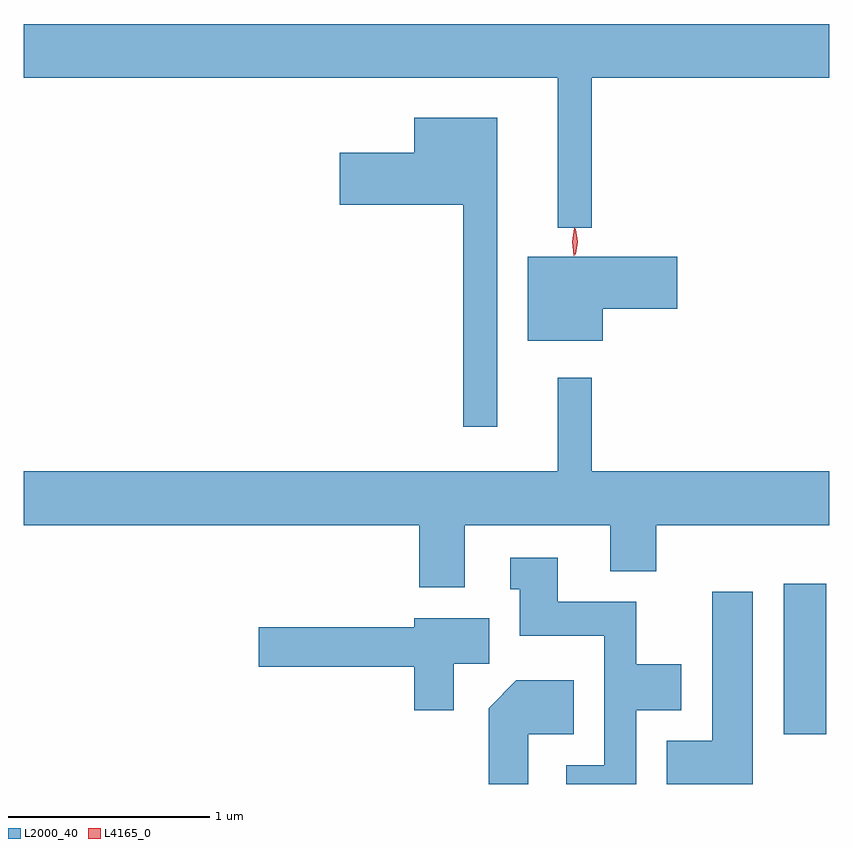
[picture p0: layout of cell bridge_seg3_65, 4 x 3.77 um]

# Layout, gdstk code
import gdstk
lib = gdstk.Library(unit=1e-6, precision=1e-09)
def R(c, l, rs):  # rectangles x0, y0, x1, y1
    for r in rs: c.add(gdstk.rectangle(r[:2], r[2:], *l))
def P(c, l, *ps):  # polygons
    for p in ps: c.add(gdstk.Polygon(p, *l))
L2000_40 = (2000, 40)
L4165_0 = (4165, 0)

bridge_seg3_65 = lib.new_cell('bridge_seg3_65')
R(bridge_seg3_65, L2000_40, [(1129.921,1133.856,1130.134,1134.604)])
P(bridge_seg3_65, L2000_40, [(1128.969,1137.116),(1130.148,1137.116),(1130.148,1137.384),(1126.148,1137.384),(1126.148,1137.116),(1128.801,1137.116),(1128.801,1136.373),(1128.969,1136.373)],
  [(1128.499,1136.919),(1128.086,1136.919),(1128.086,1136.744),(1127.716,1136.744),(1127.716,1136.486),(1128.331,1136.486),(1128.331,1135.383),(1128.499,1135.383)],
  [(1129.024,1135.971),(1129.394,1135.971),(1129.394,1136.229),(1128.651,1136.229),(1128.651,1135.811),(1129.024,1135.811)],
  [(1128.339,1134.896),(1129.061,1134.896),(1129.061,1134.666),(1129.289,1134.666),(1129.289,1134.896),(1130.148,1134.896),(1130.148,1135.164),(1128.969,1135.164),(1128.969,1135.628),(1128.801,1135.628),(1128.801,1135.164),(1126.148,1135.164),(1126.148,1134.896),(1128.111,1134.896),(1128.111,1134.586),(1128.339,1134.586)],
  [(1129.189,1133.976),(1129.414,1133.976),(1129.414,1134.204),(1129.189,1134.204),(1129.189,1134.514),(1128.799,1134.514),(1128.799,1134.734),(1128.563,1134.734),(1128.563,1134.576),(1128.611,1134.576),(1128.611,1134.346),(1129.031,1134.346),(1129.031,1133.704),(1128.843,1133.704),(1128.843,1133.61),(1129.189,1133.61)],
  [(1129.769,1134.564),(1129.566,1134.564),(1129.566,1133.824),(1129.341,1133.824),(1129.341,1133.61),(1129.769,1133.61)],
  [(1128.284,1134.206),(1128.459,1134.206),(1128.459,1134.434),(1128.086,1134.434),(1128.086,1134.389),(1127.316,1134.389),(1127.316,1134.191),(1128.086,1134.191),(1128.086,1133.976),(1128.284,1133.976)],
  [(1128.654,1133.856),(1128.879,1133.856),(1128.879,1134.124),(1128.594,1134.124),(1128.456,1133.987),(1128.456,1133.61),(1128.654,1133.61)])
P(bridge_seg3_65, L4165_0, [(1128.887,1136.24),(1128.878,1136.303),(1128.887,1136.366),(1128.888,1136.367),(1128.888,1136.366),(1128.898,1136.303),(1128.888,1136.24),(1128.888,1136.24)],
  [(1128.88,1136.234),(1128.872,1136.302),(1128.882,1136.37),(1128.882,1136.37),(1128.883,1136.37),(1128.892,1136.302),(1128.881,1136.234),(1128.881,1136.234)])

lib.write_gds('bridge_seg3_65.gds')
